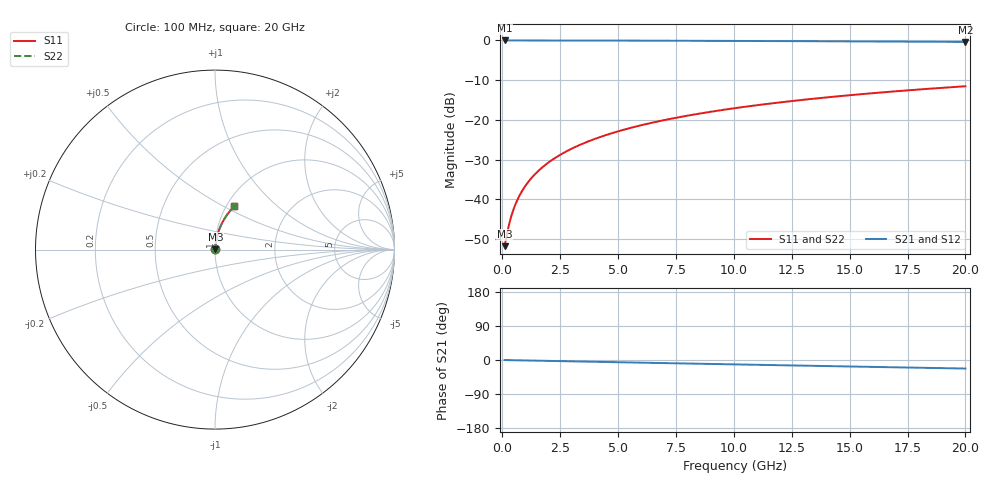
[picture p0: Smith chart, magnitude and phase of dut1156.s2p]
! Touchstone file exported from HFSS 2026.1.0
!  File:  C:/ffzhzh/LocalFiles/Ansys_Project_Files/temp_train_TMRDL_1156_1783162201_43440.aedt
!  Generated:  06:51:12 PM Jul  4, 2026
!  Design:  TMRDL
!  Project:  temp_train_TMRDL_1156_1783162201_43440
! Variables:
!  h_bsmrdl = 2um
!  h_ox = 20um
!  h_rdl = 5um
!  h_sub = 80um
!  h_tmrdl = 4.3um
!  h_tsv = 80um
!  h_via = 3um
!  l_bsmrdl = 300um
!  l_sub = 671.64um
!  l_tmrdl = 271.64um
!  m_sub = 200um
!  pitch = 41.07um
!  r_tsv = 6um
!  s_tmrdl = 10um
!  w_bsmrdl = 18um
!  w_sub = 500um
!  w_tmrdl = 11.27um
!  x_tsv_center1 = 277.275um
!  x_tsv_center2 = 595.275um
!  x_tsv_center3 = 878.185um
!  x_tsv_center4 = 1196.185um
!  x_tsv_center5 = 1479.095um
!  x_tsv_center6 = 1797.095um
# GHz S MA R 50.000000
! Terminal data exported
! Port[1] = TM_RDL1_1_T1
! Port[2] = TM_RDL1_1_T2
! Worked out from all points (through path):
!   200 points, 100 MHz to 20 GHz, reference 50 ohm
!   highest |S21| = -0.02 dB at 100 MHz (marker M1); lowest = -0.4 dB at 20 GHz (marker M2)
!   group delay of S21, straight-line fit = 3.13 ps
!   lowest |S11| = -51.8 dB at 100 MHz (marker M3), VSWR 1.01, Z = 50.2 + j0.151 ohm
!   |S11| at or under -10 dB: start of sweep to end of sweep
!   |S22| runs from -51.8 to -11.5 dB; largest |S21 - S12| = 3.2e-15
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0.1  0.002572 35.7  0.9979 -0.1  0.9979 -0.1  0.002572 35.7
! Gamma 0 0 0 0
! Port Impedance 50 0 50 0
0.2  0.003658 54.4  0.9979 -0.2  0.9979 -0.2  0.003658 54.4
0.3  0.004934 63.9  0.9978 -0.4  0.9978 -0.4  0.004934 63.9
0.4  0.006287 69.4  0.9978 -0.5  0.9978 -0.5  0.006287 69.4
0.5  0.007678 72.8  0.9977 -0.6  0.9977 -0.6  0.007678 72.8
0.6  0.009088 75.2  0.9977 -0.7  0.9977 -0.7  0.009088 75.2
0.8  0.01194 78.2  0.9976 -1.0  0.9976 -1.0  0.01194 78.1
1.1  0.01624 80.4  0.9975 -1.3  0.9975 -1.3  0.01624 80.4
1.5  0.02198 81.9  0.9973 -1.8  0.9973 -1.8  0.02198 81.9
1.8  0.02628 82.4  0.9971 -2.1  0.9971 -2.1  0.02628 82.4
2.1  0.03058 82.6  0.9969 -2.5  0.9969 -2.5  0.03058 82.6
2.7  0.03915 82.7  0.9965 -3.2  0.9965 -3.2  0.03915 82.7
3.5  0.05053 82.4  0.9957 -4.1  0.9957 -4.1  0.05053 82.4
4.2  0.06042 81.9  0.9949 -5.0  0.9949 -5.0  0.06042 81.9
5  0.07165 81.2  0.9938 -5.9  0.9938 -5.9  0.07165 81.2
5.9  0.08416 80.4  0.9925 -6.9  0.9925 -6.9  0.08416 80.4
6.8  0.09656 79.5  0.991 -8.0  0.991 -8.0  0.09656 79.5
8.3  0.117 77.9  0.9883 -9.7  0.9883 -9.7  0.117 77.9
10.1  0.141 76.1  0.9845 -11.7  0.9845 -11.7  0.141 76.1
13.4  0.184 72.6  0.9765 -15.4  0.9765 -15.4  0.184 72.6
16.7  0.2253 69.2  0.9672 -19.0  0.9672 -19.0  0.2253 69.2
20  0.2648 65.8  0.9566 -22.5  0.9566 -22.5  0.2648 65.8
